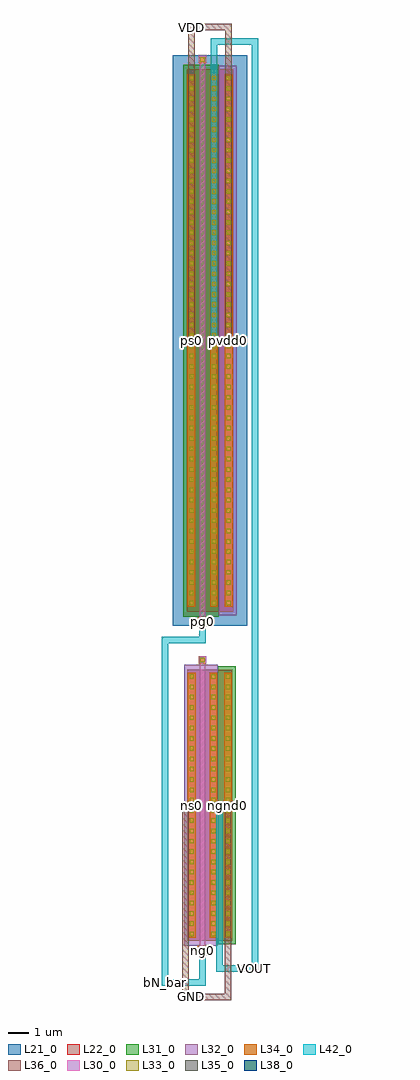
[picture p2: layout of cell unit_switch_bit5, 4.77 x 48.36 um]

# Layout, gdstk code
import gdstk
lib = gdstk.Library(unit=1e-6, precision=1e-09)
def R(c, l, rs):  # rectangles x0, y0, x1, y1
    for r in rs: c.add(gdstk.rectangle(r[:2], r[2:], *l))
def A(c, l, x, y, w, h, nx, ny, dx, dy):  # array of equal rectangles
    R(c, l, [(x+i*dx, y+j*dy, x+i*dx+w, y+j*dy+h) for i in range(nx) for j in range(ny)])
L21_0 = (21, 0)
L22_0 = (22, 0)
L30_0 = (30, 0)
L31_0 = (31, 0)
L32_0 = (32, 0)
L33_0 = (33, 0)
L34_0 = (34, 0)
L35_0 = (35, 0)
L36_0 = (36, 0)
L38_0 = (38, 0)
L42_0 = (42, 0)

unit_switch_bit5 = lib.new_cell('unit_switch_bit5')
R(unit_switch_bit5, L21_0, [(-1.15,-0.69,2.54,27.57)])
R(unit_switch_bit5, L22_0, [(-0.42,-16.3,0,-2.86), (0,-16.3,0.66,-2.86), (0.66,-16.3,1.08,-2.86), (1.08,-16.3,1.79,-2.86), (-0.46,0,0,26.88), (0,0,0.66,26.88), (0.66,0,1.12,26.88), (1.12,0,1.85,26.88)])
R(unit_switch_bit5, L30_0, [(0.15,-16.96,0.51,-16.6), (0.19,-16.6,0.47,-2.56), (0.15,-2.56,0.51,-2.2), (0.14,-0.68,0.52,-0.3), (0.19,-0.3,0.47,27.18), (0.14,27.18,0.52,27.56)])
R(unit_switch_bit5, L31_0, [(1.08,-16.47,1.96,-2.69), (-0.63,-0.24,1.12,27.12)])
R(unit_switch_bit5, L32_0, [(-0.59,-16.54,1.08,-2.62), (1.12,-0.17,2.02,27.05)])
A(unit_switch_bit5, L33_0, -0.32, -16.065, 0.22, 0.22, 1, 26, 0, 0.51)
A(unit_switch_bit5, L33_0, 0.76, -16.065, 0.22, 0.22, 1, 26, 0, 0.51)
A(unit_switch_bit5, L33_0, 1.47, -16.065, 0.22, 0.22, 1, 26, 0, 0.51)
A(unit_switch_bit5, L33_0, -0.34, 0.325, 0.22, 0.22, 1, 52, 0, 0.51)
A(unit_switch_bit5, L33_0, 0.78, 0.325, 0.22, 0.22, 1, 52, 0, 0.51)
A(unit_switch_bit5, L33_0, 1.51, 0.325, 0.22, 0.22, 1, 52, 0, 0.51)
R(unit_switch_bit5, L33_0, [(0.22,-16.89,0.44,-16.67), (0.22,-2.49,0.44,-2.27), (0.22,-0.6,0.44,-0.38), (0.22,27.26,0.44,27.48)])
R(unit_switch_bit5, L34_0, [(0.1,-17.01,0.56,-16.55), (0.14,-16.97,0.52,-16.59), (-0.4,-16.145,-0.02,-3.015), (0.68,-16.145,1.06,-3.015), (1.39,-16.145,1.77,-3.015), (-0.44,-9.81,0.02,-9.35), (0.64,-9.81,1.1,-9.35), (1.35,-9.81,1.81,-9.35), (0.14,-2.57,0.52,-2.19), (0.1,-0.72,0.56,-0.26), (0.14,-0.68,0.52,-0.3), (-0.42,0.245,-0.04,26.635), (0.7,0.245,1.08,26.635), (1.43,0.245,1.81,26.635), (-0.46,13.21,0,13.67), (0.66,13.21,1.12,13.67), (1.39,13.21,1.85,13.67), (0.14,27.18,0.52,27.56)])
R(unit_switch_bit5, L35_0, [(0.2,-16.91,0.46,-16.65), (-0.34,-9.71,-0.08,-9.45), (0.74,-9.71,1,-9.45), (1.45,-9.71,1.71,-9.45), (0.2,-0.62,0.46,-0.36), (-0.36,13.31,-0.1,13.57), (0.76,13.31,1.02,13.57), (1.49,13.31,1.75,13.57)])
R(unit_switch_bit5, L36_0, [(-0.67,-19.23,-0.05,-18.91), (-0.67,-19.23,-0.35,-9.42), (-0.37,-19.23,1.74,-18.91), (1.42,-19.23,1.74,-9.42), (0.135,-16.975,0.525,-16.585), (-0.405,-9.775,-0.015,-9.385), (0.675,-9.775,1.065,-9.385), (1.385,-9.775,1.775,-9.385), (-0.67,-9.74,-0.05,-9.42), (0.135,-0.685,0.525,-0.295), (-0.425,13.245,-0.035,13.635), (0.695,13.245,1.085,13.635), (1.425,13.245,1.815,13.635), (-0.39,13.28,-0.07,29.13), (1.46,13.28,1.78,29.13), (-0.39,28.81,-0.07,29.13), (-0.39,28.81,1.78,29.13)])
R(unit_switch_bit5, L38_0, [(0.2,-16.91,0.46,-16.65), (0.74,-9.71,1,-9.45), (0.2,-0.62,0.46,-0.36), (0.76,13.31,1.02,13.57)])
R(unit_switch_bit5, L42_0, [(-1.69,-18.53,0.49,-18.21), (-1.69,-18.53,-1.37,-1.23), (0.17,-18.53,0.49,-16.62), (1.01,-17.83,1.33,-9.42), (1.01,-17.83,3.08,-17.51), (2.76,-17.83,3.08,28.43), (0.135,-16.975,0.525,-16.585), (0.675,-9.775,1.065,-9.385), (0.71,-9.74,1.33,-9.42), (-1.69,-1.55,0.49,-1.23), (0.17,-1.55,0.49,-0.33), (0.135,-0.685,0.525,-0.295), (0.695,13.245,1.085,13.635), (0.73,13.28,1.05,28.43), (0.73,28.11,3.08,28.43)])
unit_switch_bit5.add(gdstk.Label('ps0', (-0.23,13.44), layer=34, texttype=10))
unit_switch_bit5.add(gdstk.Label('pd0', (0.89,13.44), layer=34, texttype=10))
unit_switch_bit5.add(gdstk.Label('pg0', (0.33,-0.49), layer=34, texttype=10))
unit_switch_bit5.add(gdstk.Label('pvdd0', (1.62,13.44), layer=34, texttype=10))
unit_switch_bit5.add(gdstk.Label('ns0', (-0.21,-9.581), layer=34, texttype=10))
unit_switch_bit5.add(gdstk.Label('nd0', (0.87,-9.581), layer=34, texttype=10))
unit_switch_bit5.add(gdstk.Label('ng0', (0.33,-16.781), layer=34, texttype=10))
unit_switch_bit5.add(gdstk.Label('ngnd0', (1.58,-9.581), layer=34, texttype=10))
unit_switch_bit5.add(gdstk.Label('VDD', (-0.23,28.97), layer=34, texttype=10))
unit_switch_bit5.add(gdstk.Label('GND', (-0.21,-19.072), layer=34, texttype=10))
unit_switch_bit5.add(gdstk.Label('VOUT', (2.92,-17.672), layer=34, texttype=10))
unit_switch_bit5.add(gdstk.Label('bN_bar', (-1.53,-18.372), layer=34, texttype=10))

lib.write_gds('unit_switch_bit5.gds')
